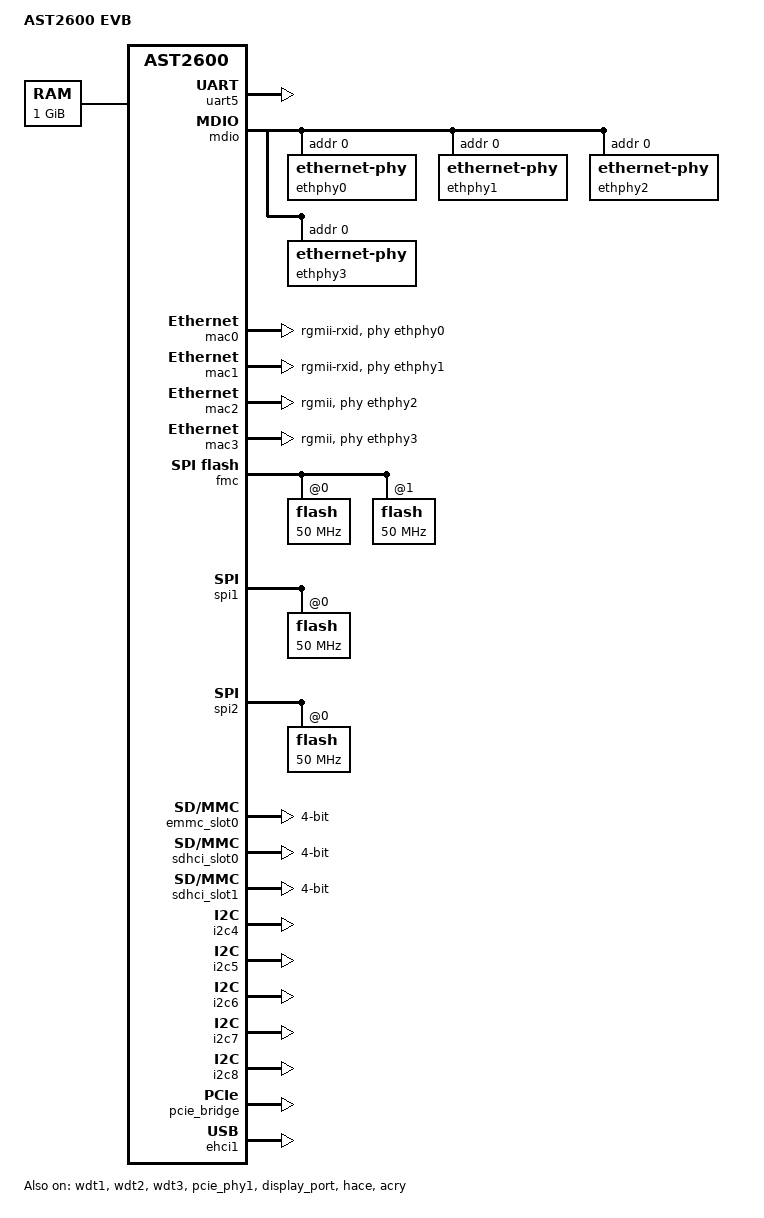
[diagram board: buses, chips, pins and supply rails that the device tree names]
// SPDX-License-Identifier: GPL-2.0+
// Copyright 2023 Aspeed Technology Inc.
/dts-v1/;

#include "ast2600-u-boot.dtsi"

/ {
	model = "AST2600 EVB";
	compatible = "aspeed,ast2600-evb", "aspeed,ast2600";

	memory {
		device_type = "memory";
		reg = <0x80000000 0x40000000>;
	};

	chosen {
		stdout-path = &uart5;
	};

	aliases {
		mmc0 = &emmc_slot0;
		mmc1 = &sdhci_slot0;
		mmc2 = &sdhci_slot1;
		spi0 = &fmc;
		spi1 = &spi1;
		spi2 = &spi2;
		ethernet0 = &mac0;
		ethernet1 = &mac1;
		ethernet2 = &mac2;
		ethernet3 = &mac3;
	};

	cpus {
		cpu@0 {
			clock-frequency = <800000000>;
		};
		cpu@1 {
			clock-frequency = <800000000>;
		};
	};

	/*
	 * reserved-memory layout
	 * 0x8a00_0000 ~ 0x8a00_FFFF is reserved for mctp0 controller in linux side.
	 * 0x8a01_0000 ~ 0x8a01_FFFF is reserved for mctp1 controller in linux side.
	 */
	reserved-memory {
		optee_core: optee_core@88000000 {
			reg = <0x88000000 0x1000000>;
			no-map;
		};

		mctp0_reserved: mctp0_reserved@8a000000 {
			reg = <0x8a000000 0x10000>;
			no-map;
		};

		mctp1_reserved: mctp0_reserved@8a010000 {
			reg = <0x8a010000 0x10000>;
			no-map;
		};
	};
};

&uart5 {
	u-boot,dm-pre-reloc;
	status = "okay";
};

&sdrammc {
	clock-frequency = <400000000>;
};

&wdt1 {
	status = "okay";
};

&wdt2 {
	status = "okay";
};

&wdt3 {
	status = "okay";
};

&mdio {
	status = "okay";
	pinctrl-names = "default";
	pinctrl-0 = <	&pinctrl_mdio1_default &pinctrl_mdio2_default
			&pinctrl_mdio3_default &pinctrl_mdio4_default>;
	#address-cells = <1>;
	#size-cells = <0>;
	ethphy0: ethernet-phy@0 {
		reg = <0>;
	};

	ethphy1: ethernet-phy@1 {
		reg = <0>;
	};

	ethphy2: ethernet-phy@2 {
		reg = <0>;
	};

	ethphy3: ethernet-phy@3 {
		reg = <0>;
	};
};

&mac0 {
	status = "okay";
	phy-mode = "rgmii-rxid";
	phy-handle = <&ethphy0>;
	pinctrl-names = "default";
	pinctrl-0 = <&pinctrl_rgmii1_default>;
};

&mac1 {
	status = "okay";
	phy-mode = "rgmii-rxid";
	phy-handle = <&ethphy1>;
	pinctrl-names = "default";
	pinctrl-0 = <&pinctrl_rgmii2_default>;
};

&mac2 {
	status = "okay";
	phy-mode = "rgmii";
	phy-handle = <&ethphy2>;
	pinctrl-names = "default";
	pinctrl-0 = <&pinctrl_rgmii3_default>;
};

&mac3 {
	status = "okay";
	phy-mode = "rgmii";
	phy-handle = <&ethphy3>;
	pinctrl-names = "default";
	pinctrl-0 = <&pinctrl_rgmii4_default>;
};

&fmc {
	status = "okay";

	pinctrl-names = "default";
	pinctrl-0 = <&pinctrl_fmcquad_default>;

	flash@0 {
		status = "okay";
		spi-max-frequency = <50000000>;
		spi-tx-bus-width = <4>;
		spi-rx-bus-width = <4>;
	};

	flash@1 {
		status = "okay";
		spi-max-frequency = <50000000>;
		spi-tx-bus-width = <4>;
		spi-rx-bus-width = <4>;
	};

	flash@2 {
		status = "disabled";
		spi-max-frequency = <50000000>;
		spi-tx-bus-width = <4>;
		spi-rx-bus-width = <4>;
	};
};

&spi1 {
	status = "okay";

	pinctrl-names = "default";
	pinctrl-0 = <&pinctrl_spi1_default &pinctrl_spi1abr_default
			&pinctrl_spi1cs1_default &pinctrl_spi1wp_default
			&pinctrl_spi1wp_default &pinctrl_spi1quad_default>;

	flash@0 {
		status = "okay";
		spi-max-frequency = <50000000>;
		spi-tx-bus-width = <4>;
		spi-rx-bus-width = <4>;
	};

	flash@1 {
		status = "disabled";
		spi-max-frequency = <50000000>;
		spi-tx-bus-width = <4>;
		spi-rx-bus-width = <4>;
	};
};

&spi2 {
	status = "okay";

	pinctrl-names = "default";
	pinctrl-0 = <&pinctrl_spi2_default &pinctrl_spi2cs1_default
			&pinctrl_spi2cs2_default &pinctrl_spi2quad_default>;

	flash@0 {
		status = "okay";
		spi-max-frequency = <50000000>;
		spi-tx-bus-width = <4>;
		spi-rx-bus-width = <4>;
	};

	flash@1 {
		status = "disabled";
		spi-max-frequency = <50000000>;
		spi-tx-bus-width = <4>;
		spi-rx-bus-width = <4>;
	};

	flash@2 {
		status = "disabled";
		spi-max-frequency = <50000000>;
		spi-tx-bus-width = <4>;
		spi-rx-bus-width = <4>;
	};
};

&emmc {
	u-boot,dm-pre-reloc;
	timing-phase = <0x000f0097>;
};

&emmc_slot0 {
	u-boot,dm-pre-reloc;
	status = "okay";
	bus-width = <4>;
	pinctrl-names = "default";
	pinctrl-0 = <&pinctrl_emmc_default>;
	sdhci-drive-type = <1>;
};

&sdhci {
	timing-phase = <0x00c6375f>;
};

&sdhci_slot0 {
	status = "okay";
	bus-width = <4>;
	pwr-gpios = <&gpio0 ASPEED_GPIO(V, 0) GPIO_ACTIVE_HIGH>;
	pwr-sw-gpios = <&gpio0 ASPEED_GPIO(V, 1) GPIO_ACTIVE_HIGH>;
	pinctrl-names = "default";
	pinctrl-0 = <&pinctrl_sd1_default>;
	sdhci-drive-type = <1>;
};

&sdhci_slot1 {
	status = "okay";
	bus-width = <4>;
	pwr-gpios = <&gpio0 ASPEED_GPIO(V, 2) GPIO_ACTIVE_HIGH>;
	pwr-sw-gpios = <&gpio0 ASPEED_GPIO(V, 3) GPIO_ACTIVE_HIGH>;
	pinctrl-names = "default";
	pinctrl-0 = <&pinctrl_sd2_default>;
	sdhci-drive-type = <1>;
};

&i2c4 {
	status = "okay";

	pinctrl-names = "default";
	pinctrl-0 = <&pinctrl_i2c5_default>;
};

&i2c5 {
	status = "okay";

	pinctrl-names = "default";
	pinctrl-0 = <&pinctrl_i2c6_default>;
};

&i2c6 {
	status = "okay";

	pinctrl-names = "default";
	pinctrl-0 = <&pinctrl_i2c7_default>;
};

&i2c7 {
	status = "okay";

	pinctrl-names = "default";
	pinctrl-0 = <&pinctrl_i2c8_default>;
};

&i2c8 {
	status = "okay";

	pinctrl-names = "default";
	pinctrl-0 = <&pinctrl_i2c9_default>;
};

&pcie_phy1 {
	status = "okay";
};

&pcie_bridge {
	status = "okay";
};

#if 0
&fsim0 {
	status = "okay";
};

&fsim1 {
	status = "okay";
};
#endif

#if 0
&vhub {
	status = "okay";
};
#endif

&ehci1 {
	status = "okay";
};

&display_port {
	status = "okay";
};

&scu {
	mac0-clk-delay = <0x10 0x0a
			  0x10 0x10
			  0x10 0x10>;
	mac1-clk-delay = <0x10 0x0a
			  0x10 0x10
			  0x10 0x10>;
	mac2-clk-delay = <0x08 0x04
			  0x08 0x04
			  0x08 0x04>;
	mac3-clk-delay = <0x08 0x04
			  0x08 0x04
			  0x08 0x04>;
};

&hace {
	u-boot,dm-pre-reloc;
	status = "okay";
};

&acry {
	u-boot,dm-pre-reloc;
	status = "okay";
};
